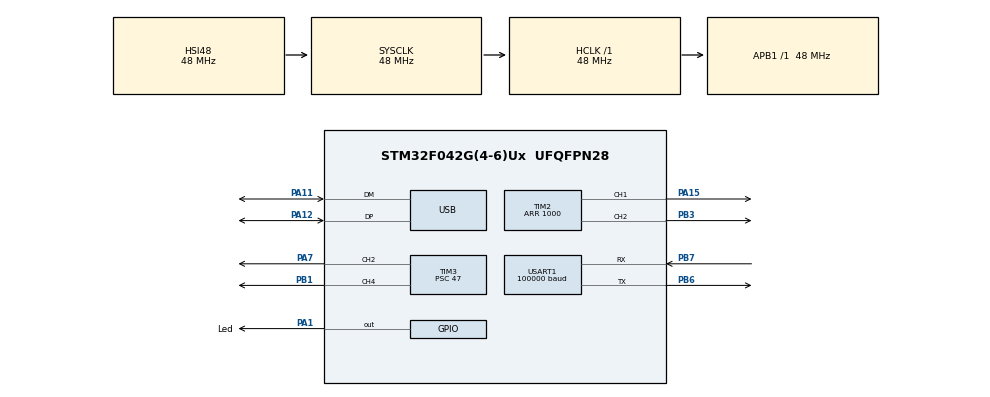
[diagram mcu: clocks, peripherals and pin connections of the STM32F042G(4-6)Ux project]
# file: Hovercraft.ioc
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Mcu.Family=STM32F0
Mcu.Name=STM32F042G(4-6)Ux
Mcu.Package=UFQFPN28
NVIC.TIM14_IRQn=true\:0\:0\:false\:false\:true\:true\:true
NVIC.USART1_IRQn=true\:0\:0\:false\:false\:true\:true\:true
NVIC.USB_IRQn=true\:0\:0\:false\:false\:true\:false\:true
PA1.GPIO_Label=Led
PA1.Signal=GPIO_Output
PA11.Mode=Device
PA11.Signal=USB_DM
PA12.Mode=Device
PA12.Signal=USB_DP
PA13.Mode=Serial_Wire
PA13.Signal=SYS_SWDIO
PA14.Mode=Serial_Wire
PA14.Signal=SYS_SWCLK
PA15.Signal=S_TIM2_CH1_ETR
PA7.Signal=S_TIM3_CH2
PB1.Signal=S_TIM3_CH4
PB3.Signal=S_TIM2_CH2
PB6.Mode=Asynchronous
PB6.Signal=USART1_TX
PB7.Mode=Asynchronous
PB7.Signal=USART1_RX
ProjectManager.HeapSize=0x100
ProjectManager.StackSize=0x100
ProjectManager.TargetToolchain=STM32CubeIDE
RCC.AHBFreq_Value=48000000
RCC.APB1Freq_Value=48000000
RCC.APB1TimFreq_Value=48000000
RCC.HCLKFreq_Value=48000000
RCC.SYSCLKFreq_VALUE=48000000
RCC.SYSCLKSource=RCC_SYSCLKSOURCE_HSI48
SH.S_TIM2_CH1_ETR.0=TIM2_CH1,PWM Generation1 CH1
SH.S_TIM2_CH2.0=TIM2_CH2,PWM Generation2 CH2
SH.S_TIM3_CH2.0=TIM3_CH2,PWM Generation2 CH2
SH.S_TIM3_CH4.0=TIM3_CH4,PWM Generation4 CH4
TIM14.AutoReloadPreload=TIM_AUTORELOAD_PRELOAD_ENABLE
TIM14.Period=1000
TIM14.Prescaler=47
TIM2.AutoReloadPreload=TIM_AUTORELOAD_PRELOAD_ENABLE
TIM2.Channel-PWM\ Generation1\ CH1=TIM_CHANNEL_1
TIM2.Channel-PWM\ Generation2\ CH2=TIM_CHANNEL_2
TIM2.Period=1000
TIM3.AutoReloadPreload=TIM_AUTORELOAD_PRELOAD_ENABLE
TIM3.Channel-PWM\ Generation2\ CH2=TIM_CHANNEL_2
TIM3.Channel-PWM\ Generation4\ CH4=TIM_CHANNEL_4
TIM3.OCPolarity_4=TIM_OCPOLARITY_LOW
TIM3.Period=20000
TIM3.Prescaler=47
USART1.BaudRate=100000
USART1.DMADisableonRxErrorParam=ADVFEATURE_DMA_DISABLEONRXERROR
USART1.Mode=MODE_RX
USART1.OverrunDisableParam=ADVFEATURE_OVERRUN_DISABLE
USART1.Parity=PARITY_EVEN
USART1.RxPinLevelInvertParam=ADVFEATURE_RXINV_ENABLE
USART1.StopBits=STOPBITS_2
USART1.VirtualMode-Asynchronous=VM_ASYNC
USART1.WordLength=WORDLENGTH_9B
USB_DEVICE.CLASS_NAME_FS=CDC
USB_DEVICE.VirtualMode=Cdc
USB_DEVICE.VirtualModeFS=Cdc_FS
VP_SYS_VS_PINREMAP.Mode=PINREMAP
VP_TIM14_VS_ClockSourceINT.Mode=Enable_Timer
VP_TIM2_VS_ClockSourceINT.Mode=Internal
VP_TIM3_VS_ClockSourceINT.Mode=Internal
VP_USB_DEVICE_VS_USB_DEVICE_CDC_FS.Mode=CDC_FS
board=custom

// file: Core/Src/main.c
/* USER CODE BEGIN Header */
/**
  ******************************************************************************
  * @file           : main.c
  * @brief          : Main program body
  ******************************************************************************
  * @attention
  *
  * <h2><center>&copy; Copyright (c) 2020 STMicroelectronics.
  * All rights reserved.</center></h2>
  *
  * This software component is licensed by ST under BSD 3-Clause license,
  * the "License"; You may not use this file except in compliance with the
  * License. You may obtain a copy of the License at:
  *                        opensource.org/licenses/BSD-3-Clause
  *
  ******************************************************************************
  */
/* USER CODE END Header */

#include "main.h"
#include "usb_device.h"

/* USER CODE BEGIN Includes */
#include <stdarg.h>
#include "usbd_cdc_if.h"

#include <sbus.h>
/* USER CODE END Includes */

TIM_HandleTypeDef htim2;
TIM_HandleTypeDef htim3;
TIM_HandleTypeDef htim14;

UART_HandleTypeDef huart1;

/* USER CODE BEGIN PV */
uint8_t gSBUSByte;
struct sbuschannels gSBUSChannels;
uint32_t Err;
/* USER CODE END PV */

void SystemClock_Config(void);
static void MX_GPIO_Init(void);
static void MX_USART1_UART_Init(void);
static void MX_TIM14_Init(void);
static void MX_TIM2_Init(void);
static void MX_TIM3_Init(void);

/* USER CODE BEGIN 0 */
int my_printf(const char *format, ...)
{
	char buffer[128];
	va_list args;
	int size;

	va_start(args, format);

	size = vsnprintf(buffer, sizeof(buffer), format, args);
	CDC_Transmit_FS((uint8_t *) buffer, size);

	va_end(args);
	return size;
}

void HAL_UART_RxCpltCallback(UART_HandleTypeDef *huart)
{
	if (huart == &huart1)
	{
		// Reset timeout
		__HAL_TIM_SET_COUNTER(&htim14, 0);

		// Add received byte to sbus FIFO
		SBUS_AddByte(gSBUSByte);

		// Available sbus frame ?
		if (SBUS_GetChannel(&gSBUSChannels) == FRAME_COMPLETE)
		{
			if (gSBUSChannels.Channel_5 > 1000UL)
			{
				// Set Lifter speed
				int16_t LifterSpeed = SBUS_NormalizeChannel(gSBUSChannels.Channel_4, 0, 1000);
				htim2.Instance->CCR1 = LifterSpeed;

				// Set Thruster speed
				int16_t ThrusterSpeed = SBUS_NormalizeChannel(gSBUSChannels.Channel_0, 0, 1000);
				htim2.Instance->CCR2 = ThrusterSpeed;

				// Set servo position
				uint16_t ServoPosition = SBUS_NormalizeChannel(gSBUSChannels.Channel_1, 500, 2500);
				htim3.Instance->CCR4 = ServoPosition;
			}
			else
			{
				// Stops motors
				htim2.Instance->CCR1 = 0;
				htim2.Instance->CCR2 = 0;
			}

			// Debug
//			char Str[64];
//			sprintf(Str, "%d %d %d %d %d %d\r\n",
//					gSBUSChannels.Channel_0,
//					gSBUSChannels.Channel_1,
//					gSBUSChannels.Channel_2,
//					gSBUSChannels.Channel_3,
//					gSBUSChannels.Channel_4,
//					gSBUSChannels.Channel_5);
//			CDC_Transmit_FS((uint8_t *)Str, strlen(Str));

//			char Str[64];
//			sprintf(Str, "%d %d %d\r\n", LifterSpeed, ThrusterSpeed, ServoPosition);
//			CDC_Transmit_FS((uint8_t *)Str, strlen(Str));

			//HAL_GPIO_TogglePin(Led_GPIO_Port, Led_Pin);
		}

		// Restart IT
		HAL_UART_Receive_IT(huart, &gSBUSByte, 1);
	}

}

void HAL_TIM_PeriodElapsedCallback(TIM_HandleTypeDef *htim)
{
	if (htim == &htim14)
	{
		SBUS_TimeoutCallback();
	}

}

/* USER CODE END 0 */

int main(void)
{

  /* MCU Configuration--------------------------------------------------------*/

  /* Reset of all peripherals, Initializes the Flash interface and the Systick. */
  HAL_Init();

  /* Configure the system clock */
  SystemClock_Config();

  /* Initialize all configured peripherals */
  MX_GPIO_Init();
  MX_USB_DEVICE_Init();
  MX_USART1_UART_Init();
  MX_TIM14_Init();
  MX_TIM2_Init();
  MX_TIM3_Init();
  /* USER CODE BEGIN 2 */
	SBUS_Init();

	// Start SBUS ISR
	HAL_UART_Receive_IT(&huart1, &gSBUSByte, 1);
	HAL_TIM_Base_Start_IT(&htim14);

	// Start PWM
	HAL_TIM_PWM_Start(&htim2, TIM_CHANNEL_1);
	HAL_TIM_PWM_Start(&htim2, TIM_CHANNEL_2);
	HAL_TIM_PWM_Start(&htim3, TIM_CHANNEL_4);
  /* USER CODE END 2 */

  /* Infinite loop */
  while (1)
  {

    /* USER CODE BEGIN 3 */
//	  GPIO_PinState state = HAL_GPIO_ReadPin(ButtonFC_GPIO_Port, ButtonFC_Pin);
//	  my_printf("ButtonFc = %u\r\n", state);
//	  HAL_Delay(200);

//	  HAL_GPIO_TogglePin(Led_GPIO_Port, Led_Pin);
//	  HAL_Delay(200);

  }
  /* USER CODE END 3 */
}

void SystemClock_Config(void)
{
  RCC_OscInitTypeDef RCC_OscInitStruct = {0};
  RCC_ClkInitTypeDef RCC_ClkInitStruct = {0};
  RCC_PeriphCLKInitTypeDef PeriphClkInit = {0};

  /** Initializes the CPU, AHB and APB busses clocks
  */
  RCC_OscInitStruct.OscillatorType = RCC_OSCILLATORTYPE_HSI48;
  RCC_OscInitStruct.HSI48State = RCC_HSI48_ON;
  RCC_OscInitStruct.PLL.PLLState = RCC_PLL_NONE;
  if (HAL_RCC_OscConfig(&RCC_OscInitStruct) != HAL_OK)
  {
    Error_Handler();
  }
  /** Initializes the CPU, AHB and APB busses clocks
  */
  RCC_ClkInitStruct.ClockType = RCC_CLOCKTYPE_HCLK|RCC_CLOCKTYPE_SYSCLK
                              |RCC_CLOCKTYPE_PCLK1;
  RCC_ClkInitStruct.SYSCLKSource = RCC_SYSCLKSOURCE_HSI48;
  RCC_ClkInitStruct.AHBCLKDivider = RCC_SYSCLK_DIV1;
  RCC_ClkInitStruct.APB1CLKDivider = RCC_HCLK_DIV1;

  if (HAL_RCC_ClockConfig(&RCC_ClkInitStruct, FLASH_LATENCY_1) != HAL_OK)
  {
    Error_Handler();
  }
  PeriphClkInit.PeriphClockSelection = RCC_PERIPHCLK_USB|RCC_PERIPHCLK_USART1;
  PeriphClkInit.Usart1ClockSelection = RCC_USART1CLKSOURCE_PCLK1;
  PeriphClkInit.UsbClockSelection = RCC_USBCLKSOURCE_HSI48;

  if (HAL_RCCEx_PeriphCLKConfig(&PeriphClkInit) != HAL_OK)
  {
    Error_Handler();
  }
}

static void MX_TIM2_Init(void)
{

  TIM_ClockConfigTypeDef sClockSourceConfig = {0};
  TIM_MasterConfigTypeDef sMasterConfig = {0};
  TIM_OC_InitTypeDef sConfigOC = {0};

  htim2.Instance = TIM2;
  htim2.Init.Prescaler = 0;
  htim2.Init.CounterMode = TIM_COUNTERMODE_UP;
  htim2.Init.Period = 1000;
  htim2.Init.ClockDivision = TIM_CLOCKDIVISION_DIV1;
  htim2.Init.AutoReloadPreload = TIM_AUTORELOAD_PRELOAD_ENABLE;
  if (HAL_TIM_Base_Init(&htim2) != HAL_OK)
  {
    Error_Handler();
  }
  sClockSourceConfig.ClockSource = TIM_CLOCKSOURCE_INTERNAL;
  if (HAL_TIM_ConfigClockSource(&htim2, &sClockSourceConfig) != HAL_OK)
  {
    Error_Handler();
  }
  if (HAL_TIM_PWM_Init(&htim2) != HAL_OK)
  {
    Error_Handler();
  }
  sMasterConfig.MasterOutputTrigger = TIM_TRGO_RESET;
  sMasterConfig.MasterSlaveMode = TIM_MASTERSLAVEMODE_DISABLE;
  if (HAL_TIMEx_MasterConfigSynchronization(&htim2, &sMasterConfig) != HAL_OK)
  {
    Error_Handler();
  }
  sConfigOC.OCMode = TIM_OCMODE_PWM1;
  sConfigOC.Pulse = 0;
  sConfigOC.OCPolarity = TIM_OCPOLARITY_HIGH;
  sConfigOC.OCFastMode = TIM_OCFAST_DISABLE;
  if (HAL_TIM_PWM_ConfigChannel(&htim2, &sConfigOC, TIM_CHANNEL_1) != HAL_OK)
  {
    Error_Handler();
  }
  if (HAL_TIM_PWM_ConfigChannel(&htim2, &sConfigOC, TIM_CHANNEL_2) != HAL_OK)
  {
    Error_Handler();
  }
  HAL_TIM_MspPostInit(&htim2);

}

static void MX_TIM3_Init(void)
{

  TIM_ClockConfigTypeDef sClockSourceConfig = {0};
  TIM_MasterConfigTypeDef sMasterConfig = {0};
  TIM_OC_InitTypeDef sConfigOC = {0};

  htim3.Instance = TIM3;
  htim3.Init.Prescaler = 47;
  htim3.Init.CounterMode = TIM_COUNTERMODE_UP;
  htim3.Init.Period = 20000;
  htim3.Init.ClockDivision = TIM_CLOCKDIVISION_DIV1;
  htim3.Init.AutoReloadPreload = TIM_AUTORELOAD_PRELOAD_ENABLE;
  if (HAL_TIM_Base_Init(&htim3) != HAL_OK)
  {
    Error_Handler();
  }
  sClockSourceConfig.ClockSource = TIM_CLOCKSOURCE_INTERNAL;
  if (HAL_TIM_ConfigClockSource(&htim3, &sClockSourceConfig) != HAL_OK)
  {
    Error_Handler();
  }
  if (HAL_TIM_PWM_Init(&htim3) != HAL_OK)
  {
    Error_Handler();
  }
  sMasterConfig.MasterOutputTrigger = TIM_TRGO_RESET;
  sMasterConfig.MasterSlaveMode = TIM_MASTERSLAVEMODE_DISABLE;
  if (HAL_TIMEx_MasterConfigSynchronization(&htim3, &sMasterConfig) != HAL_OK)
  {
    Error_Handler();
  }
  sConfigOC.OCMode = TIM_OCMODE_PWM1;
  sConfigOC.Pulse = 0;
  sConfigOC.OCPolarity = TIM_OCPOLARITY_HIGH;
  sConfigOC.OCFastMode = TIM_OCFAST_DISABLE;
  if (HAL_TIM_PWM_ConfigChannel(&htim3, &sConfigOC, TIM_CHANNEL_2) != HAL_OK)
  {
    Error_Handler();
  }
  sConfigOC.OCPolarity = TIM_OCPOLARITY_LOW;
  if (HAL_TIM_PWM_ConfigChannel(&htim3, &sConfigOC, TIM_CHANNEL_4) != HAL_OK)
  {
    Error_Handler();
  }
  HAL_TIM_MspPostInit(&htim3);

}

static void MX_TIM14_Init(void)
{

  htim14.Instance = TIM14;
  htim14.Init.Prescaler = 47;
  htim14.Init.CounterMode = TIM_COUNTERMODE_UP;
  htim14.Init.Period = 1000;
  htim14.Init.ClockDivision = TIM_CLOCKDIVISION_DIV1;
  htim14.Init.AutoReloadPreload = TIM_AUTORELOAD_PRELOAD_ENABLE;
  if (HAL_TIM_Base_Init(&htim14) != HAL_OK)
  {
    Error_Handler();
  }

}

static void MX_USART1_UART_Init(void)
{

  huart1.Instance = USART1;
  huart1.Init.BaudRate = 100000;
  huart1.Init.WordLength = UART_WORDLENGTH_9B;
  huart1.Init.StopBits = UART_STOPBITS_2;
  huart1.Init.Parity = UART_PARITY_EVEN;
  huart1.Init.Mode = UART_MODE_RX;
  huart1.Init.HwFlowCtl = UART_HWCONTROL_NONE;
  huart1.Init.OverSampling = UART_OVERSAMPLING_16;
  huart1.Init.OneBitSampling = UART_ONE_BIT_SAMPLE_DISABLE;
  huart1.AdvancedInit.AdvFeatureInit = UART_ADVFEATURE_RXINVERT_INIT|UART_ADVFEATURE_RXOVERRUNDISABLE_INIT
                              |UART_ADVFEATURE_DMADISABLEONERROR_INIT;
  huart1.AdvancedInit.RxPinLevelInvert = UART_ADVFEATURE_RXINV_ENABLE;
  huart1.AdvancedInit.OverrunDisable = UART_ADVFEATURE_OVERRUN_DISABLE;
  huart1.AdvancedInit.DMADisableonRxError = UART_ADVFEATURE_DMA_DISABLEONRXERROR;
  if (HAL_UART_Init(&huart1) != HAL_OK)
  {
    Error_Handler();
  }

}

static void MX_GPIO_Init(void)
{
  GPIO_InitTypeDef GPIO_InitStruct = {0};

  /* GPIO Ports Clock Enable */
  __HAL_RCC_GPIOA_CLK_ENABLE();
  __HAL_RCC_GPIOB_CLK_ENABLE();

  /*Configure GPIO pin Output Level */
  HAL_GPIO_WritePin(Led_GPIO_Port, Led_Pin, GPIO_PIN_RESET);

  /*Configure GPIO pin : Led_Pin */
  GPIO_InitStruct.Pin = Led_Pin;
  GPIO_InitStruct.Mode = GPIO_MODE_OUTPUT_PP;
  GPIO_InitStruct.Pull = GPIO_NOPULL;
  GPIO_InitStruct.Speed = GPIO_SPEED_FREQ_LOW;
  HAL_GPIO_Init(Led_GPIO_Port, &GPIO_InitStruct);

}

void Error_Handler(void)
{
}

/************************ (C) COPYRIGHT STMicroelectronics *****END OF FILE****/
